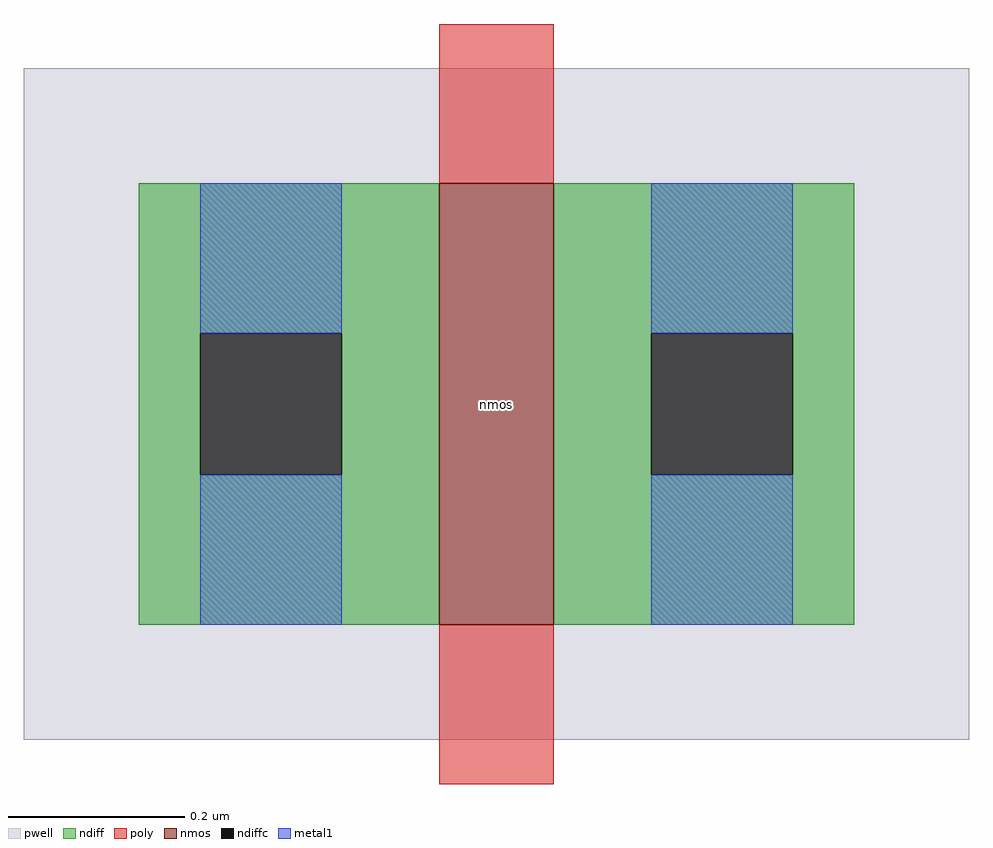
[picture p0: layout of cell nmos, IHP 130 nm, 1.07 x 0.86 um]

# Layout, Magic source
magic
tech ihp-sg13g2
magscale 1 2
<< pwell >>
rect -26 -26 188 126
<< nmos >>
rect 68 0 94 100
<< ndiff >>
rect 0 66 68 100
rect 0 34 14 66
rect 46 34 68 66
rect 0 0 68 34
rect 94 66 162 100
rect 94 34 116 66
rect 148 34 162 66
rect 94 0 162 34
<< ndiffc >>
rect 14 34 46 66
rect 116 34 148 66
<< poly >>
rect 68 100 94 136
rect 68 -36 94 0
<< metal1 >>
rect 14 66 46 100
rect 14 0 46 34
rect 116 66 148 100
rect 116 0 148 34
<< labels >>
flabel comment s 81 50 81 50 0 FreeSans 200 90 0 0 nmos
<< end >>
